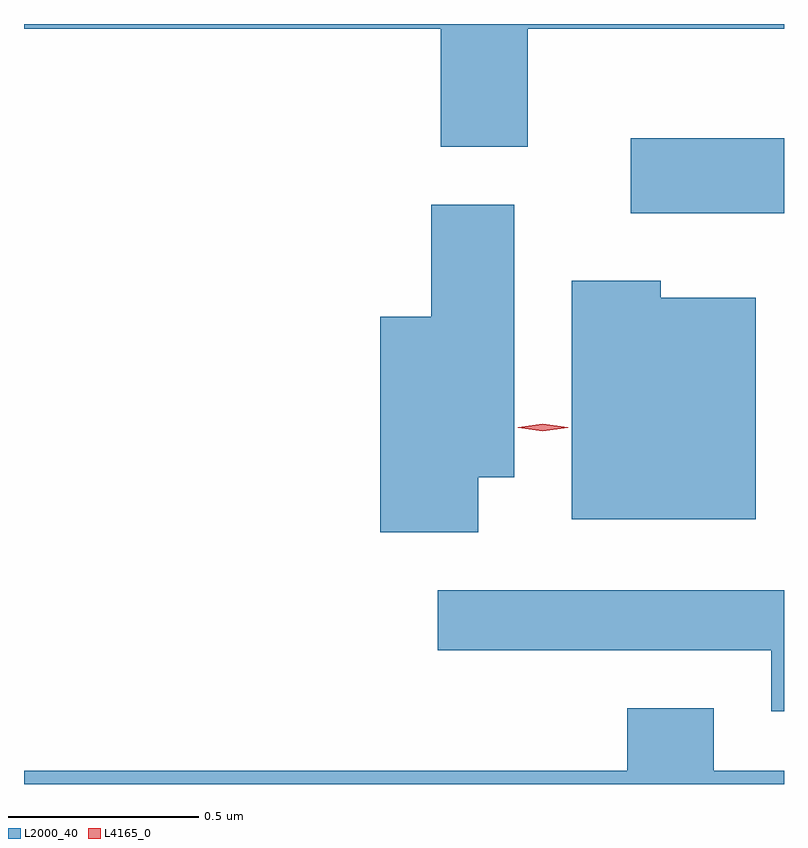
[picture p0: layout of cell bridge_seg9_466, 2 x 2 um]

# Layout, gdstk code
import gdstk
lib = gdstk.Library(unit=1e-6, precision=1e-09)
def R(c, l, rs):  # rectangles x0, y0, x1, y1
    for r in rs: c.add(gdstk.rectangle(r[:2], r[2:], *l))
def P(c, l, *ps):  # polygons
    for p in ps: c.add(gdstk.Polygon(p, *l))
L2000_40 = (2000, 40)
L4165_0 = (4165, 0)

bridge_seg9_466 = lib.new_cell('bridge_seg9_466')
R(bridge_seg9_466, L2000_40, [(303.881,2051.271,304.284,2051.469)])
P(bridge_seg9_466, L2000_40, [(303.609,2051.756),(304.284,2051.756),(304.284,2051.769),(302.284,2051.769),(302.284,2051.756),(303.381,2051.756),(303.381,2051.446),(303.609,2051.446)],
  [(303.479,2050.576),(303.574,2050.576),(303.574,2051.294),(303.356,2051.294),(303.356,2050.999),(303.221,2050.999),(303.221,2050.431),(303.479,2050.431)],
  [(304.209,2051.049),(303.959,2051.049),(303.959,2051.094),(303.726,2051.094),(303.726,2050.466),(304.209,2050.466)],
  [(304.284,2050.279),(303.373,2050.279),(303.373,2050.121),(304.251,2050.121),(304.251,2049.961),(304.284,2049.961)],
  [(304.284,2049.804),(304.099,2049.804),(304.099,2049.969),(303.871,2049.969),(303.871,2049.804),(302.284,2049.804),(302.284,2049.769),(304.284,2049.769)])
P(bridge_seg9_466, L4165_0, [(303.649,2050.697),(303.584,2050.707),(303.583,2050.707),(303.584,2050.708),(303.649,2050.717),(303.715,2050.708),(303.716,2050.707),(303.715,2050.707)])

lib.write_gds('bridge_seg9_466.gds')
